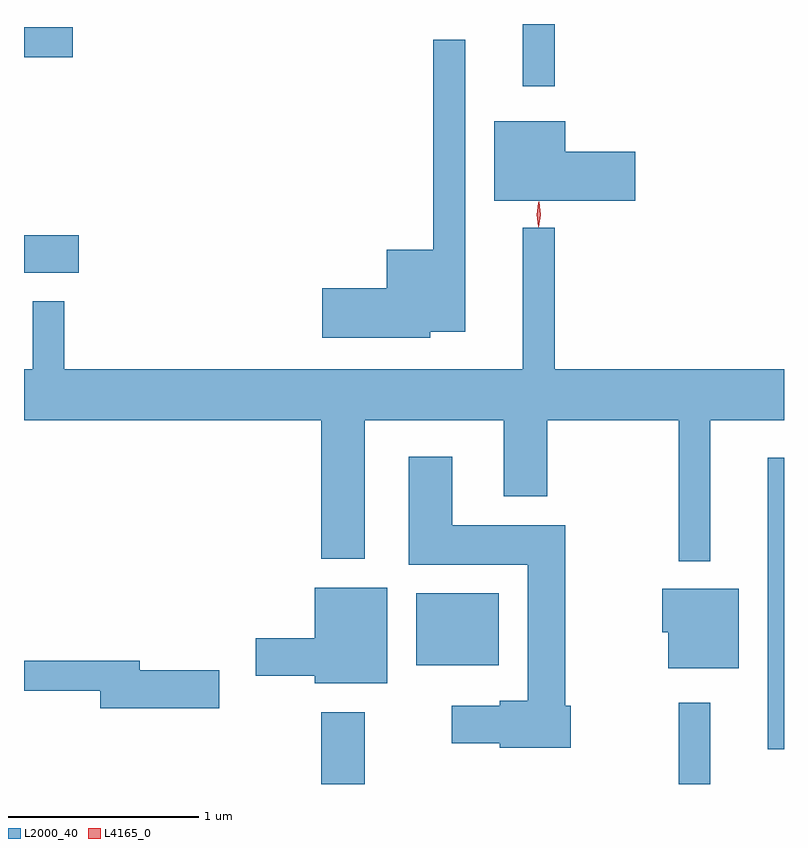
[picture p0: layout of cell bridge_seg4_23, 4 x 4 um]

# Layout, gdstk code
import gdstk
lib = gdstk.Library(unit=1e-6, precision=1e-09)
def R(c, l, rs):  # rectangles x0, y0, x1, y1
    for r in rs: c.add(gdstk.rectangle(r[:2], r[2:], *l))
def P(c, l, *ps):  # polygons
    for p in ps: c.add(gdstk.Polygon(p, *l))
L2000_40 = (2000, 40)
L4165_0 = (4165, 0)

bridge_seg4_23 = lib.new_cell('bridge_seg4_23')
R(bridge_seg4_23, L2000_40, [(1169.181,1330.561,1169.409,1330.939), (1171.061,1330.561,1171.229,1330.988), (1171.531,1330.743,1171.616,1332.279), (1169.681,1331.186,1170.114,1331.564), (1167.616,1333.251,1167.904,1333.449), (1170.241,1334.233,1170.409,1334.561), (1167.616,1334.386,1167.873,1334.544)])
P(bridge_seg4_23, L2000_40, [(1169.754,1332.941),(1169.939,1332.941),(1169.939,1334.478),(1169.771,1334.478),(1169.771,1333.374),(1169.526,1333.374),(1169.526,1333.169),(1169.186,1333.169),(1169.186,1332.911),(1169.754,1332.911)],
  [(1170.834,1333.889),(1170.464,1333.889),(1170.464,1334.049),(1170.091,1334.049),(1170.091,1333.631),(1170.834,1333.631)],
  [(1171.229,1332.476),(1171.616,1332.476),(1171.616,1332.744),(1170.409,1332.744),(1170.409,1333.488),(1170.241,1333.488),(1170.241,1332.744),(1167.829,1332.744),(1167.829,1333.103),(1167.661,1333.103),(1167.661,1332.744),(1167.616,1332.744),(1167.616,1332.476),(1169.181,1332.476),(1169.181,1331.746),(1169.409,1331.746),(1169.409,1332.476),(1170.141,1332.476),(1170.141,1332.076),(1170.369,1332.076),(1170.369,1332.476),(1171.061,1332.476),(1171.061,1331.733),(1171.229,1331.733)],
  [(1170.494,1330.974),(1170.464,1330.974),(1170.464,1331.924),(1169.869,1331.924),(1169.869,1332.284),(1169.641,1332.284),(1169.641,1331.716),(1170.266,1331.716),(1170.266,1330.999),(1170.121,1330.999),(1170.121,1330.974),(1169.866,1330.974),(1169.866,1330.776),(1170.121,1330.776),(1170.121,1330.751),(1170.494,1330.751)],
  [(1169.529,1331.594),(1169.146,1331.594),(1169.146,1331.329),(1168.836,1331.329),(1168.836,1331.131),(1169.146,1331.131),(1169.146,1331.091),(1169.529,1331.091)],
  [(1171.379,1331.589),(1170.976,1331.589),(1170.976,1331.361),(1171.006,1331.361),(1171.006,1331.171),(1171.379,1331.171)],
  [(1168.644,1331.159),(1168.224,1331.159),(1168.224,1331.209),(1167.616,1331.209),(1167.616,1331.051),(1168.016,1331.051),(1168.016,1330.961),(1168.644,1330.961)])
P(bridge_seg4_23, L4165_0, [(1170.324,1333.49),(1170.316,1333.558),(1170.326,1333.626),(1170.327,1333.626),(1170.327,1333.626),(1170.336,1333.558),(1170.325,1333.49),(1170.325,1333.49)],
  [(1170.324,1333.493),(1170.323,1333.494),(1170.314,1333.556),(1170.323,1333.619),(1170.324,1333.62),(1170.324,1333.619),(1170.334,1333.556),(1170.324,1333.494)])

lib.write_gds('bridge_seg4_23.gds')
